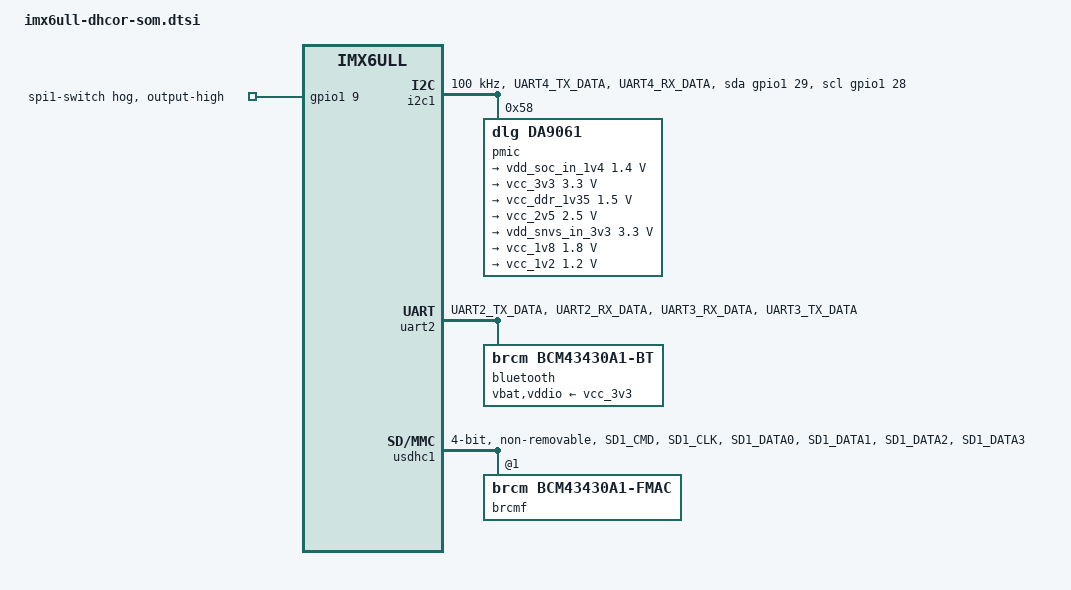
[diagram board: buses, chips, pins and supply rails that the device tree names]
// SPDX-License-Identifier: GPL-2.0+ OR BSD-3-Clause
/*
 * Copyright (C) 2023 DH electronics GmbH
 */

#include <dt-bindings/clock/imx6ul-clock.h>
#include <dt-bindings/gpio/gpio.h>
#include <dt-bindings/input/input.h>
#include <dt-bindings/leds/common.h>
#include <dt-bindings/pwm/pwm.h>
#include <dt-bindings/regulator/dlg,da9063-regulator.h>
#include "imx6ull.dtsi"

/ {
	aliases {
		/delete-property/ mmc0;
		/delete-property/ mmc1;
	};

	memory@80000000 {
		/* Appropriate memory size will be filled by U-Boot */
		reg = <0x80000000 0>;
		device_type = "memory";
	};
};

&cpu0 {
	/*
	 * Due to the design as a solderable SOM, there are no capacitors
	 * below the SoC, therefore higher voltages are required.
	 * Due to CPU lifetime consideration of the SoC manufacturer and
	 * the preferred area of operation in the industrial related
	 * environment, set the maximum frequency for each DHCOM i.MX6ULL
	 * to 792MHz, as with the industrial type.
	 */
	clock-frequency = <792000000>;
	operating-points = <
		/* kHz	uV */
		792000	1250000 /* Voltage increased */
		528000	1175000
		396000	1025000
		198000	950000
	>;
	fsl,soc-operating-points = <
		/* KHz	uV */
		792000	1250000 /* Voltage increased */
		528000	1175000
		396000	1175000
		198000	1175000
	>;
};

&gpio1 {
	pinctrl-0 = <&pinctrl_spi1_switch>;
	pinctrl-names = "default";
	/*
	 * Pin SPI_BOOT_FLASH_EN (GPIO 1.9) is a switch for either using the
	 * DHCOM SPI1 interface or accessing the SPI bootflash. Both using
	 * ecspi1, but muxed to different pins. The DHCOM SPI1 interface uses
	 * the pins PAD_LCD_DATA21..23 and the SPI bootflash uses the pins
	 * PAD_CSI_DATA04..07. If the SPI bootflash is enabled the pins for
	 * DHCOM GPIOs N/O/P/Q/R/S/T/U aren't usable anymore, because they
	 * are used for the bus interface to the SPI bootflash. The GPIOs are
	 * disconnected by a buffer which is also controlled via the pin
	 * SPI_BOOT_FLASH_EN. Therefore the access to the bootflash is a
	 * special case and is disabled by setting GPIO 1.9 to high.
	 */
	spi1-switch-hog {
		gpio-hog;
		gpios = <9 0>;
		output-high;
		line-name = "spi1-switch";
	};
};

&i2c1 {
	clock-frequency = <100000>;
	pinctrl-0 = <&pinctrl_i2c1>;
	pinctrl-1 = <&pinctrl_i2c1_gpio>;
	pinctrl-names = "default", "gpio";
	scl-gpios = <&gpio1 28 (GPIO_ACTIVE_HIGH | GPIO_OPEN_DRAIN)>;
	sda-gpios = <&gpio1 29 (GPIO_ACTIVE_HIGH | GPIO_OPEN_DRAIN)>;
	status = "okay";

	pmic@58 {
		compatible = "dlg,da9061";
		reg = <0x58>;

		onkey {
			compatible = "dlg,da9061-onkey", "dlg,da9062-onkey";
			status = "disabled";
		};

		regulators {
			vdd_soc_in_1v4: buck1 {
				regulator-allowed-modes = <DA9063_BUCK_MODE_SLEEP>; /* PFM */
				regulator-always-on;
				regulator-boot-on;
				regulator-initial-mode = <DA9063_BUCK_MODE_SLEEP>;
				regulator-max-microvolt = <1400000>;
				regulator-min-microvolt = <1400000>;
				regulator-name = "vdd_soc_in_1v4";
			};

			vcc_3v3: buck2 {
				regulator-allowed-modes = <DA9063_BUCK_MODE_SYNC>; /* PWM */
				regulator-always-on;
				regulator-boot-on;
				regulator-initial-mode = <DA9063_BUCK_MODE_SYNC>;
				regulator-max-microvolt = <3300000>;
				regulator-min-microvolt = <3300000>;
				regulator-name = "vcc_3v3";
			};

			/*
			 * The current DRR3 memory can be supplied with a
			 * voltage of either 1.35V or 1.5V. For reasons of
			 * backward compatibility to only 1.5V DDR3 memory,
			 * the voltage is set to 1.5V.
			 */
			vcc_ddr_1v35: buck3 {
				regulator-allowed-modes = <DA9063_BUCK_MODE_SYNC>; /* PWM */
				regulator-always-on;
				regulator-boot-on;
				regulator-initial-mode = <DA9063_BUCK_MODE_SYNC>;
				regulator-max-microvolt = <1500000>;
				regulator-min-microvolt = <1500000>;
				regulator-name = "vcc_ddr_1v35";
			};

			vcc_2v5: ldo1 {
				regulator-always-on;
				regulator-boot-on;
				regulator-max-microvolt = <2500000>;
				regulator-min-microvolt = <2500000>;
				regulator-name = "vcc_2v5";
			};

			vdd_snvs_in_3v3: ldo2 {
				regulator-always-on;
				regulator-boot-on;
				regulator-max-microvolt = <3300000>;
				regulator-min-microvolt = <3300000>;
				regulator-name = "vdd_snvs_in_3v3";
			};

			vcc_1v8: ldo3 {
				regulator-always-on;
				regulator-boot-on;
				regulator-max-microvolt = <1800000>;
				regulator-min-microvolt = <1800000>;
				regulator-name = "vcc_1v8";
			};

			vcc_1v2: ldo4 {
				regulator-always-on;
				regulator-boot-on;
				regulator-max-microvolt = <1200000>;
				regulator-min-microvolt = <1200000>;
				regulator-name = "vcc_1v2";
			};
		};

		thermal {
			compatible = "dlg,da9061-thermal", "dlg,da9062-thermal";
			status = "disabled";
		};

		watchdog {
			compatible = "dlg,da9061-watchdog", "dlg,da9062-watchdog";
			status = "disabled";
		};
	};
};

&ocotp {
	/* Don't get write access by default */
	read-only;
};

&reg_arm {
	vin-supply = <&vdd_soc_in_1v4>;
};

&reg_soc {
	vin-supply = <&vdd_soc_in_1v4>;
};

/* BT on LGA (BT_REG_ON is connected to LGA pin E1) */
&uart2 {
	pinctrl-0 = <&pinctrl_uart2>;
	pinctrl-names = "default";
	uart-has-rtscts;
	status = "okay";

	/*
	 * Actually, the maximum speed of the chip is 4MBdps, but there are
	 * limitations that prevent this speed. It hasn't yet been figured out
	 * what the reason for this is. Currently, the maximum speed of 3MBdps
	 * can be used without any problems. If the limitation can be overcome,
	 * the speed can be increased accordingly.
	 */
	bluetooth: bluetooth {
		compatible = "brcm,bcm43430a1-bt"; /* muRata 1DX */
		max-speed = <3000000>;
		vbat-supply = <&vcc_3v3>;
		vddio-supply = <&vcc_3v3>;
	};
};

/* WiFi on LGA (WL_REG_ON is connected to LGA pin E3) */
&usdhc1 {
	#address-cells = <1>;
	#size-cells = <0>;
	bus-width = <4>;
	no-1-8-v;
	non-removable;
	keep-power-in-suspend;
	pinctrl-0 = <&pinctrl_usdhc1_wifi>;
	pinctrl-names = "default";
	wakeup-source;
	status = "okay";

	brcmf: wifi@1 {
		compatible = "brcm,bcm43430a1-fmac", "brcm,bcm4329-fmac"; /* muRata 1DX */
		reg = <1>;
	};
};

&iomuxc {
	pinctrl_i2c1: i2c1-grp {
		fsl,pins = <
			MX6UL_PAD_UART4_TX_DATA__I2C1_SCL	0x4001b8b0
			MX6UL_PAD_UART4_RX_DATA__I2C1_SDA	0x4001b8b0
		>;
	};

	pinctrl_i2c1_gpio: i2c1-gpio-grp {
		fsl,pins = <
			MX6UL_PAD_UART4_TX_DATA__GPIO1_IO28	0x4001b8b0
			MX6UL_PAD_UART4_RX_DATA__GPIO1_IO29	0x4001b8b0
		>;
	};

	pinctrl_spi1_switch: spi1-switch-grp {
		fsl,pins = <
			MX6UL_PAD_GPIO1_IO09__GPIO1_IO09	0x120b0 /* SPI_BOOT_FLASH_EN */
		>;
	};

	pinctrl_uart2: uart2-grp {
		fsl,pins = <
			MX6UL_PAD_UART2_TX_DATA__UART2_DCE_TX	0x1b0b1
			MX6UL_PAD_UART2_RX_DATA__UART2_DCE_RX	0x1b0b1
			MX6UL_PAD_UART3_RX_DATA__UART2_DCE_RTS	0x1b0b1
			MX6UL_PAD_UART3_TX_DATA__UART2_DCE_CTS	0x1b0b1
		>;
	};

	pinctrl_usdhc1_wifi: usdhc1-wifi-grp {
		fsl,pins = <
			MX6UL_PAD_SD1_CMD__USDHC1_CMD		0x1b0b0
			MX6UL_PAD_SD1_CLK__USDHC1_CLK		0x10010
			MX6UL_PAD_SD1_DATA0__USDHC1_DATA0	0x1b0b0
			MX6UL_PAD_SD1_DATA1__USDHC1_DATA1	0x1b0b0
			MX6UL_PAD_SD1_DATA2__USDHC1_DATA2	0x1b0b0
			MX6UL_PAD_SD1_DATA3__USDHC1_DATA3	0x1b0b0
		>;
	};
};
